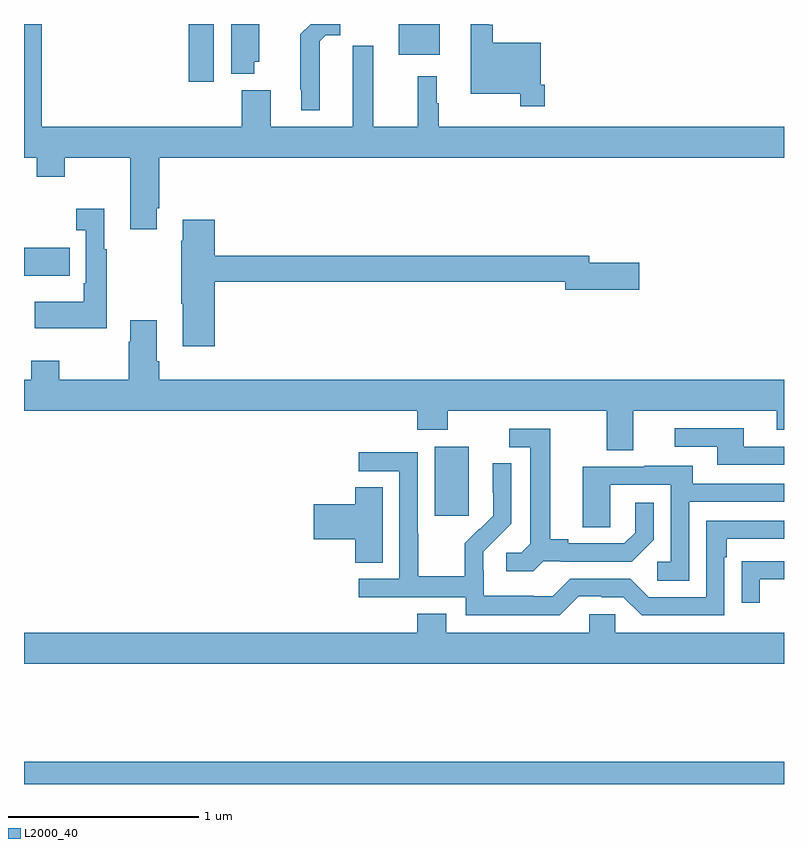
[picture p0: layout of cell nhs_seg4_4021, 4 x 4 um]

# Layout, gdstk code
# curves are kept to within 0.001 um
import gdstk
lib = gdstk.Library(unit=1e-6, precision=1e-09)
def R(c, l, rs):  # rectangles x0, y0, x1, y1
    for r in rs: c.add(gdstk.rectangle(r[:2], r[2:], *l))
def P(c, l, *ps):  # polygons
    for p in ps: c.add(gdstk.Polygon(p, *l))
L2000_40 = (2000, 40)

nhs_seg4_4021 = lib.new_cell('nhs_seg4_4021')
R(nhs_seg4_4021, L2000_40, [(325,750.9,329,751.016), (327.161,752.313,327.34,752.674), (325,753.575,325.241,753.723), (325.868,754.596,325.999,754.9), (326.972,754.739,327.187,754.9)])
P(nhs_seg4_4021, L2000_40, [(325.699,753.931),(325.712,753.931),(325.712,754.196),(329,754.196),(329,754.36),(327.184,754.36),(327.184,754.484),(327.172,754.484),(327.172,754.624),(327.073,754.624),(327.073,754.36),(326.839,754.36),(326.839,754.786),(326.729,754.786),(326.729,754.36),(326.299,754.36),(326.299,754.552),(326.147,754.552),(326.147,754.36),(325.094,754.36),(325.094,754.9),(325,754.9),(325,754.196),(325.067,754.196),(325.067,754.097),(325.215,754.097),(325.215,754.196),(325.559,754.196),(325.559,753.819),(325.699,753.819)],
  [(326.212,754.701),(326.239,754.701),(326.239,754.9),(326.09,754.9),(326.09,754.637),(326.212,754.637)],
  [(327.74,754.579),(327.72,754.579),(327.72,754.801),(327.467,754.801),(327.467,754.897),(327.447,754.897),(327.447,754.9),(327.35,754.9),(327.35,754.532),(327.612,754.532),(327.612,754.467),(327.74,754.467)],
  [(326.557,754.808),(326.589,754.841),(326.664,754.841),(326.664,754.9),(326.509,754.9),(326.455,754.846),(326.455,754.555),(326.459,754.555),(326.459,754.445),(326.557,754.445)],
  [(325.435,753.715),(325.423,753.715),(325.423,753.928),(325.275,753.928),(325.275,753.815),(325.326,753.815),(325.326,753.535),(325.314,753.535),(325.314,753.439),(325.057,753.439),(325.057,753.299),(325.435,753.299)],
  [(326.003,753.544),(327.848,753.544),(327.848,753.502),(328.237,753.502),(328.237,753.644),(327.976,753.644),(327.976,753.68),(326.003,753.68),(326.003,753.871),(325.835,753.871),(325.835,753.758),(325.828,753.758),(325.828,753.427),(325.835,753.427),(325.835,753.204),(326.003,753.204)],
  [(328.207,752.864),(328.961,752.864),(328.961,752.765),(329,752.765),(329,753.028),(325.712,753.028),(325.712,753.124),(325.699,753.124),(325.699,753.34),(325.559,753.34),(325.559,753.227),(325.552,753.227),(325.552,753.028),(325.185,753.028),(325.185,753.127),(325.038,753.127),(325.038,753.028),(325,753.028),(325,752.864),(327.071,752.864),(327.071,752.765),(327.231,752.765),(327.231,752.864),(328.067,752.864),(328.067,752.656),(328.207,752.656)],
  [(329,752.676),(328.789,752.676),(328.789,752.772),(328.425,752.772),(328.425,752.676),(328.649,752.676),(328.649,752.58),(329,752.58)],
  [(327.732,752.073),(327.826,752.073),(327.826,752.07),(328.198,752.07),(328.314,752.186),(328.314,752.38),(328.217,752.38),(328.217,752.223),(328.16,752.166),(327.865,752.166),(327.865,752.189),(327.769,752.189),(327.769,752.769),(327.555,752.769),(327.555,752.673),(327.665,752.673),(327.665,752.165),(327.618,752.118),(327.537,752.118),(327.537,752.021),(327.68,752.021)],
  [(327.921,751.887),(328.037,751.887),(328.037,751.884),(328.155,751.884),(328.251,751.788),(328.686,751.788),(328.686,752.093),(328.699,752.093),(328.699,752.19),(329,752.19),(329,752.286),(328.59,752.286),(328.59,751.884),(328.287,751.884),(328.191,751.98),(327.876,751.98),(327.783,751.887),(327.683,751.887),(327.683,751.891),(327.42,751.891),(327.42,752.025),(327.418,752.025),(327.418,752.122),(327.564,752.27),(327.564,752.588),(327.468,752.588),(327.468,752.434),(327.47,752.434),(327.47,752.312),(327.399,752.241),(327.396,752.244),(327.319,752.167),(327.319,751.993),(327.075,751.993),(327.075,752.216),(327.072,752.216),(327.072,752.646),(326.763,752.646),(326.763,752.547),(326.976,752.547),(326.976,751.98),(326.763,751.98),(326.763,751.884),(327.324,751.884),(327.324,751.787),(327.821,751.787)],
  [(328.5,752.385),(329,752.385),(329,752.481),(328.519,752.481),(328.519,752.575),(328.265,752.575),(328.265,752.571),(327.941,752.571),(327.941,752.251),(328.086,752.251),(328.086,752.475),(328.404,752.475),(328.404,752.07),(328.332,752.07),(328.332,751.969),(328.5,751.969)],
  [(326.887,752.462),(326.744,752.462),(326.744,752.372),(326.526,752.372),(326.526,752.189),(326.744,752.189),(326.744,752.065),(326.887,752.065)],
  [(328.873,751.977),(329,751.977),(329,752.073),(328.879,752.073),(328.879,752.072),(328.777,752.072),(328.777,751.854),(328.873,751.854)],
  [(329,751.696),(328.113,751.696),(328.113,751.794),(327.975,751.794),(327.975,751.696),(327.223,751.696),(327.223,751.795),(327.071,751.795),(327.071,751.696),(325,751.696),(325,751.532),(329,751.532)])

lib.write_gds('nhs_seg4_4021.gds')
